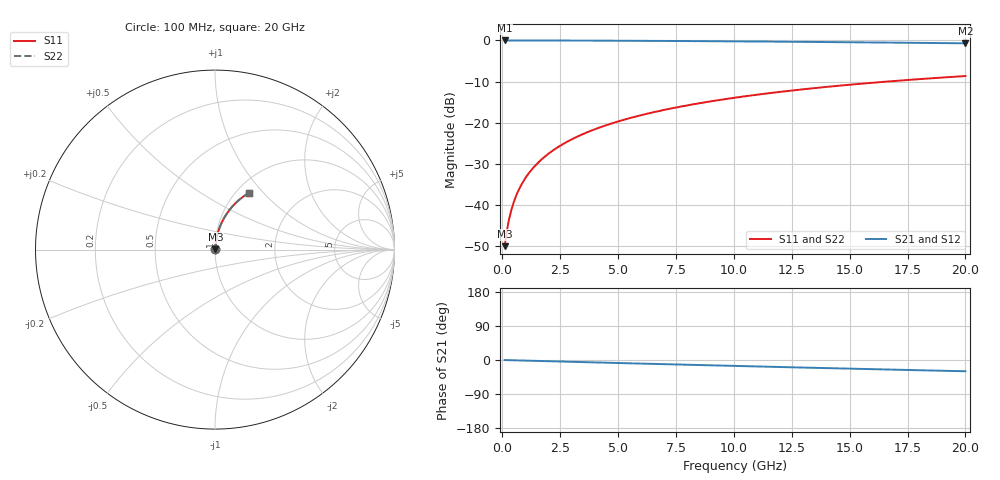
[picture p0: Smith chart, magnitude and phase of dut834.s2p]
! Touchstone file exported from HFSS 2026.1.0
!  File:  C:/ffzhzh/LocalFiles/Ansys_Project_Files/temp_train_BSMRDL_834_1783170294_18472.aedt
!  Generated:  09:06:06 PM Jul  4, 2026
!  Design:  BSMRDL
!  Project:  temp_train_BSMRDL_834_1783170294_18472
! Variables:
!  h_bsmrdl = 4.62um
!  h_ox = 20um
!  h_rdl = 5um
!  h_sub = 80um
!  h_tmrdl = 5um
!  h_tsv = 80um
!  h_via = 3um
!  l_bsmrdl = 337.25um
!  l_sub = 737.25um
!  l_tmrdl = 200um
!  m_sub = 200um
!  pitch = 54.61um
!  r_tsv = 6um
!  s_tmrdl = 10um
!  w_bsmrdl = 11.51um
!  w_sub = 500um
!  w_tmrdl = 12um
!  x_tsv_center1 = 206um
!  x_tsv_center2 = 554.76um
!  x_tsv_center3 = 766.76um
!  x_tsv_center4 = 1115.52um
!  x_tsv_center5 = 1327.52um
!  x_tsv_center6 = 1676.28um
# GHz S MA R 50.000000
! Terminal data exported
! Port[1] = BSM_RDL1_1_T1
! Port[2] = BSM_RDL1_1_T2
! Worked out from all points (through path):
!   200 points, 100 MHz to 20 GHz, reference 50 ohm
!   highest |S21| = -0.02 dB at 100 MHz (marker M1); lowest = -0.7 dB at 20 GHz (marker M2)
!   group delay of S21, straight-line fit = 4.13 ps
!   lowest |S11| = -50.0 dB at 100 MHz (marker M3), VSWR 1.01, Z = 50.2 + j0.217 ohm
!   |S11| at or under -10 dB: start of sweep to 16.61 GHz
!   |S22| runs from -50.0 to -8.7 dB; largest |S21 - S12| = 3.4e-15
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0.1  0.00318 42.8  0.9977 -0.2  0.9977 -0.2  0.00318 42.8
! Gamma 0 0 0 0
! Port Impedance 50 0 50 0
0.2  0.004926 61.1  0.9976 -0.3  0.9976 -0.3  0.004926 61.1
0.3  0.006898 69.2  0.9976 -0.5  0.9976 -0.5  0.006898 69.2
0.4  0.008935 73.5  0.9975 -0.7  0.9975 -0.7  0.008935 73.5
0.5  0.01099 76.1  0.9975 -0.8  0.9975 -0.8  0.01099 76.1
0.6  0.01306 77.9  0.9974 -1.0  0.9974 -1.0  0.01306 77.9
0.8  0.01721 80.0  0.9973 -1.3  0.9973 -1.3  0.01721 80.0
1.1  0.02346 81.7  0.9971 -1.8  0.9971 -1.8  0.02346 81.7
1.5  0.0318 82.5  0.9967 -2.4  0.9967 -2.4  0.0318 82.5
1.8  0.03806 82.8  0.9964 -2.9  0.9964 -2.9  0.03806 82.8
2.1  0.04431 82.8  0.9961 -3.4  0.9961 -3.4  0.04431 82.8
2.7  0.05677 82.4  0.9952 -4.3  0.9952 -4.3  0.05677 82.4
3.5  0.07327 81.6  0.9938 -5.6  0.9938 -5.6  0.07327 81.6
4.2  0.08758 80.8  0.9923 -6.7  0.9923 -6.7  0.08758 80.8
5  0.1038 79.7  0.9904 -8.0  0.9904 -8.0  0.1038 79.7
5.9  0.1218 78.5  0.9879 -9.3  0.9879 -9.3  0.1218 78.5
6.8  0.1395 77.2  0.9852 -10.7  0.9852 -10.7  0.1395 77.2
8.3  0.1686 75.0  0.98 -13.0  0.98 -13.0  0.1686 75.0
10.1  0.2026 72.5  0.9729 -15.7  0.9729 -15.7  0.2026 72.5
13.4  0.2621 67.8  0.9577 -20.6  0.9577 -20.6  0.2621 67.8
16.7  0.3177 63.3  0.9402 -25.2  0.9402 -25.2  0.3177 63.3
20  0.3691 58.9  0.9209 -29.7  0.9209 -29.7  0.369 58.9
